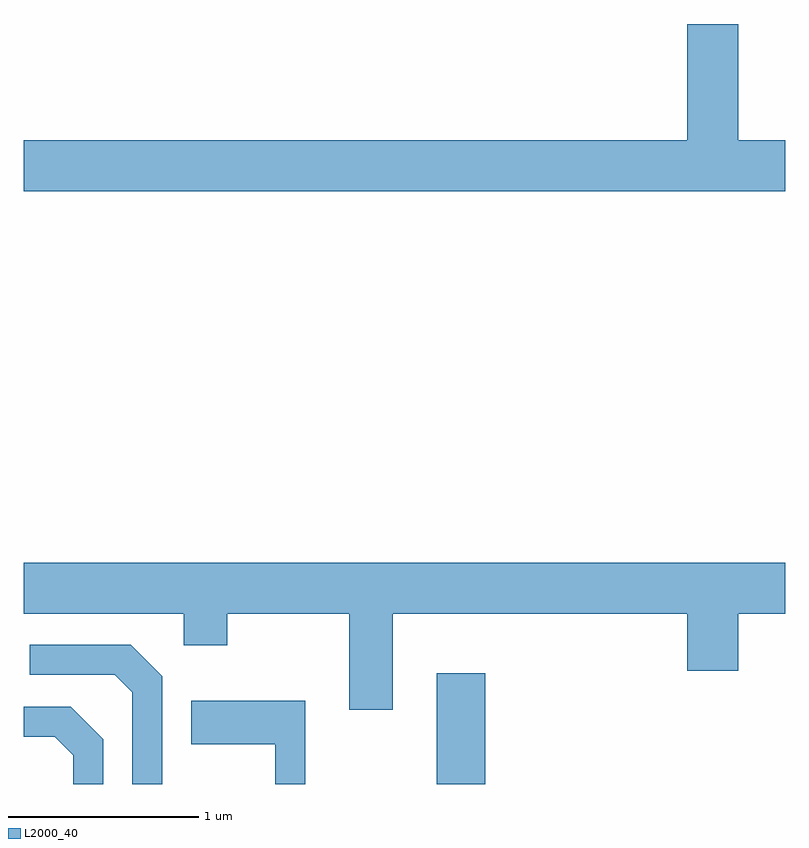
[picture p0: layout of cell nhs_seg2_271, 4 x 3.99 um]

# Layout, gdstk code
import gdstk
lib = gdstk.Library(unit=1e-6, precision=1e-09)
def R(c, l, rs):  # rectangles x0, y0, x1, y1
    for r in rs: c.add(gdstk.rectangle(r[:2], r[2:], *l))
def P(c, l, *ps):  # polygons
    for p in ps: c.add(gdstk.Polygon(p, *l))
L2000_40 = (2000, 40)

nhs_seg2_271 = lib.new_cell('nhs_seg2_271')
R(nhs_seg2_271, L2000_40, [(193.781,1111.802,194.034,1112.384)])
P(nhs_seg2_271, L2000_40, [(195.611,1115.184),(195.364,1115.184),(195.364,1115.794),(195.096,1115.794),(195.096,1115.184),(191.611,1115.184),(191.611,1114.916),(195.611,1114.916)],
  [(193.549,1112.696),(195.096,1112.696),(195.096,1112.396),(195.364,1112.396),(195.364,1112.696),(195.611,1112.696),(195.611,1112.964),(191.611,1112.964),(191.611,1112.696),(192.451,1112.696),(192.451,1112.531),(192.679,1112.531),(192.679,1112.696),(193.321,1112.696),(193.321,1112.191),(193.549,1112.191)],
  [(192.339,1112.367),(192.172,1112.534),(191.643,1112.534),(191.643,1112.376),(192.089,1112.376),(192.181,1112.284),(192.181,1111.802),(192.339,1111.802)],
  [(193.089,1112.239),(192.491,1112.239),(192.491,1112.011),(192.931,1112.011),(192.931,1111.802),(193.089,1111.802)],
  [(192.029,1112.037),(191.857,1112.209),(191.611,1112.209),(191.611,1112.051),(191.774,1112.051),(191.871,1111.954),(191.871,1111.802),(192.029,1111.802)])

lib.write_gds('nhs_seg2_271.gds')
